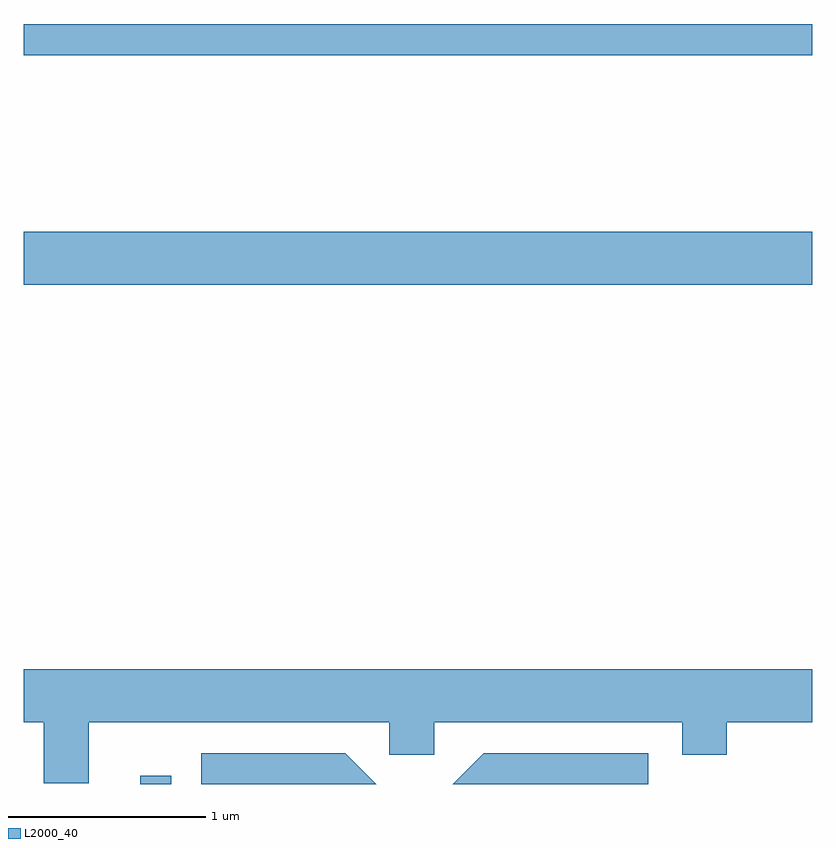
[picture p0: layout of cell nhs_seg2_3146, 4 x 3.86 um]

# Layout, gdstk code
import gdstk
lib = gdstk.Library(unit=1e-6, precision=1e-09)
def R(c, l, rs):  # rectangles x0, y0, x1, y1
    for r in rs: c.add(gdstk.rectangle(r[:2], r[2:], *l))
def P(c, l, *ps):  # polygons
    for p in ps: c.add(gdstk.Polygon(p, *l))
L2000_40 = (2000, 40)

nhs_seg2_3146 = lib.new_cell('nhs_seg2_3146')
R(nhs_seg2_3146, L2000_40, [(278.201,1025.802,278.359,1025.843), (277.611,1028.336,281.611,1028.604), (277.611,1029.501,281.611,1029.659)])
P(nhs_seg2_3146, L2000_40, [(277.939,1026.116),(279.466,1026.116),(279.466,1025.951),(279.694,1025.951),(279.694,1026.116),(280.951,1026.116),(280.951,1025.951),(281.179,1025.951),(281.179,1026.116),(281.611,1026.116),(281.611,1026.384),(277.611,1026.384),(277.611,1026.116),(277.711,1026.116),(277.711,1025.806),(277.939,1025.806)],
  [(280.779,1025.959),(279.944,1025.959),(279.787,1025.802),(280.779,1025.802)],
  [(279.242,1025.959),(278.511,1025.959),(278.511,1025.802),(279.399,1025.802)])

lib.write_gds('nhs_seg2_3146.gds')
